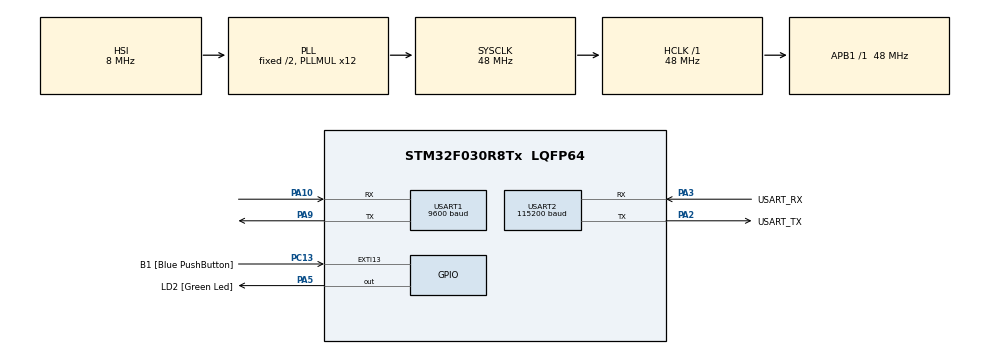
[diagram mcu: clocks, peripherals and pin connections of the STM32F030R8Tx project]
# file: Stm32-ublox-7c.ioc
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Dma.Request0=USART1_RX
Dma.USART1_RX.0.Direction=DMA_PERIPH_TO_MEMORY
Dma.USART1_RX.0.Instance=DMA1_Channel3
Dma.USART1_RX.0.MemDataAlignment=DMA_MDATAALIGN_BYTE
Dma.USART1_RX.0.MemInc=DMA_MINC_ENABLE
Dma.USART1_RX.0.Mode=DMA_NORMAL
Dma.USART1_RX.0.PeriphDataAlignment=DMA_PDATAALIGN_BYTE
Dma.USART1_RX.0.PeriphInc=DMA_PINC_DISABLE
Dma.USART1_RX.0.Priority=DMA_PRIORITY_HIGH
Mcu.Family=STM32F0
Mcu.Name=STM32F030R8Tx
Mcu.Package=LQFP64
NVIC.DMA1_Channel2_3_IRQn=true\:0\:0\:false\:false\:true\:false\:true\:true
NVIC.USART1_IRQn=true\:0\:0\:false\:false\:true\:true\:true\:true
PA10.Mode=Asynchronous
PA10.Signal=USART1_RX
PA13.GPIO_Label=TMS
PA13.Mode=Serial_Wire
PA13.Signal=SYS_SWDIO
PA14.GPIO_Label=TCK
PA14.Mode=Serial_Wire
PA14.Signal=SYS_SWCLK
PA2.GPIO_Label=USART_TX
PA2.GPIO_Mode=GPIO_MODE_AF_PP
PA2.GPIO_PuPd=GPIO_NOPULL
PA2.GPIO_Speed=GPIO_SPEED_FREQ_LOW
PA2.Mode=Asynchronous
PA2.Signal=USART2_TX
PA3.GPIO_Label=USART_RX
PA3.GPIO_Mode=GPIO_MODE_AF_PP
PA3.GPIO_PuPd=GPIO_NOPULL
PA3.GPIO_Speed=GPIO_SPEED_FREQ_LOW
PA3.Mode=Asynchronous
PA3.Signal=USART2_RX
PA5.GPIO_Label=LD2 [Green Led]
PA5.GPIO_Mode=GPIO_MODE_OUTPUT_PP
PA5.GPIO_PuPd=GPIO_NOPULL
PA5.GPIO_Speed=GPIO_SPEED_FREQ_LOW
PA5.Signal=GPIO_Output
PA9.Mode=Asynchronous
PA9.Signal=USART1_TX
PC13.GPIO_Label=B1 [Blue PushButton]
PC13.GPIO_ModeDefaultEXTI=GPIO_MODE_IT_FALLING
PC13.Signal=GPXTI13
PC14-OSC32_IN.Mode=LSE-External-Oscillator
PC14-OSC32_IN.Signal=RCC_OSC32_IN
PC15-OSC32_OUT.Mode=LSE-External-Oscillator
PC15-OSC32_OUT.Signal=RCC_OSC32_OUT
PF0-OSC_IN.Mode=HSE-External-Clock-Source
PF0-OSC_IN.Signal=RCC_OSC_IN
PF1-OSC_OUT.Signal=RCC_OSC_OUT
ProjectManager.HeapSize=0x200
ProjectManager.StackSize=0x400
ProjectManager.TargetToolchain=STM32CubeIDE
RCC.AHBFreq_Value=48000000
RCC.APB1Freq_Value=48000000
RCC.APB1TimFreq_Value=48000000
RCC.HCLKFreq_Value=48000000
RCC.PLLMUL=RCC_PLL_MUL12
RCC.SYSCLKFreq_VALUE=48000000
RCC.SYSCLKSource=RCC_SYSCLKSOURCE_PLLCLK
USART1.BaudRate=9600
USART1.VirtualMode-Asynchronous=VM_ASYNC
USART2.BaudRate=115200
USART2.VirtualMode-Asynchronous=VM_ASYNC
board=NUCLEO-F030R8

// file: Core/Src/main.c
/* USER CODE BEGIN Header */
/**
  ******************************************************************************
  * @file           : main.c
  * @brief          : Main program body
  ******************************************************************************
  * @attention
  *
  * Copyright (c) 2023 STMicroelectronics.
  * All rights reserved.
  *
  * This software is licensed under terms that can be found in the LICENSE file
  * in the root directory of this software component.
  * If no LICENSE file comes with this software, it is provided AS-IS.
  *
  ******************************************************************************
  */
/* USER CODE END Header */
#include "main.h"

/* USER CODE BEGIN Includes */
#include "nmea_parse.h"
#include <stdio.h>
/* USER CODE END Includes */

UART_HandleTypeDef huart1;
UART_HandleTypeDef huart2;
DMA_HandleTypeDef hdma_usart1_rx;

/* USER CODE BEGIN PV */

/* USER CODE BEGIN PV */
#define RxBuffer_SIZE 64  //configure uart receive buffer size
#define DataBuffer_SIZE 512 //gather a few rxBuffer frames before parsing

// Functions for UART receiving, based on the DMA receive function, implementations may vary
uint16_t oldPos = 0;
uint16_t newPos = 0;
uint8_t RxBuffer[RxBuffer_SIZE];
uint8_t DataBuffer[DataBuffer_SIZE];

//create a GPS data structure
GPS myData;

/* USER CODE END PV */

void SystemClock_Config(void);
static void MX_GPIO_Init(void);
static void MX_DMA_Init(void);
static void MX_USART2_UART_Init(void);
static void MX_USART1_UART_Init(void);

/* USER CODE BEGIN 0 */

void HAL_UARTEx_RxEventCallback(UART_HandleTypeDef *huart, uint16_t Size)
{
    oldPos = newPos; //keep track of the last position in the buffer
    if(oldPos + Size > DataBuffer_SIZE){ //if the buffer is full, parse it, then reset the buffer

        uint16_t datatocopy = DataBuffer_SIZE-oldPos;  // find out how much space is left in the main buffer
        memcpy ((uint8_t *)DataBuffer+oldPos, RxBuffer, datatocopy);  // copy data in that remaining space

        oldPos = 0;  // point to the start of the buffer
        memcpy ((uint8_t *)DataBuffer, (uint8_t *)RxBuffer+datatocopy, (Size-datatocopy));  // copy the remaining data
        newPos = (Size-datatocopy);  // update the position
    }
    else{
        memcpy((uint8_t *)DataBuffer+oldPos, RxBuffer, Size); //copy received data to the buffer
        newPos = Size+oldPos; //update buffer position

    }
    HAL_UARTEx_ReceiveToIdle_DMA(&huart1, (uint8_t *)RxBuffer, RxBuffer_SIZE); //re-enable the DMA interrupt
    __HAL_DMA_DISABLE_IT(&hdma_usart1_rx, DMA_IT_HT); //disable the half transfer interrupt
}

/* USER CODE END 0 */

int main(void)
{

  /* MCU Configuration--------------------------------------------------------*/

  /* Reset of all peripherals, Initializes the Flash interface and the Systick. */
  HAL_Init();

  /* Configure the system clock */
  SystemClock_Config();

  /* Initialize all configured peripherals */
  MX_GPIO_Init();
  MX_DMA_Init();
  MX_USART2_UART_Init();
  MX_USART1_UART_Init();
  /* USER CODE BEGIN 2 */

  HAL_UARTEx_ReceiveToIdle_DMA(&huart1, (uint8_t *)RxBuffer, RxBuffer_SIZE);
  __HAL_DMA_DISABLE_IT(&hdma_usart1_rx, DMA_IT_HT);
  int Serialcnt = 0;
  /* USER CODE END 2 */

  /* Infinite loop */
  while (1)
  {
	  nmea_parse(&myData, DataBuffer);

	      if(myData.fix == 1){ //if the GPS has a fix, print the data
	          char * str = (char*)malloc(sizeof(char)*200);
	          sprintf(str, "\r\n%d: Lat: %2.6f %c, Lon: %2.6f %c, Alt: %2.6f m, Satellites: %d HDOP: %f\r\n", Serialcnt, myData.latitude, myData.latSide, myData.longitude, myData.lonSide, myData.altitude, myData.satelliteCount, myData.hdop); // @suppress("Float formatting support")
	          HAL_UART_Transmit(&huart2, (uint8_t *)str, strlen(str), 1000);
	          //Transmit last measure time for troubleshooting
	          HAL_UART_Transmit(&huart2, (uint8_t *)myData.lastMeasure, strlen(myData.lastMeasure), 1000);
	          HAL_Delay(1000);
	          free(str);
	      }
	      else{ //if the GPS doesn't have a fix, print a message
	          char *str = (char*)malloc(sizeof(char)*15);
	          sprintf(str, "%d: No fix\r\n", Serialcnt);
	         HAL_UART_Transmit(&huart2, (uint8_t *)str, strlen(str), 1000);
	          HAL_Delay(5000);
	          free(str);
	      }
	      Serialcnt++;
	        /* USER CODE END WHILE */

  }
}

void SystemClock_Config(void)
{
  RCC_OscInitTypeDef RCC_OscInitStruct = {0};
  RCC_ClkInitTypeDef RCC_ClkInitStruct = {0};
  RCC_PeriphCLKInitTypeDef PeriphClkInit = {0};

  /** Initializes the RCC Oscillators according to the specified parameters
  * in the RCC_OscInitTypeDef structure.
  */
  RCC_OscInitStruct.OscillatorType = RCC_OSCILLATORTYPE_HSI;
  RCC_OscInitStruct.HSIState = RCC_HSI_ON;
  RCC_OscInitStruct.HSICalibrationValue = RCC_HSICALIBRATION_DEFAULT;
  RCC_OscInitStruct.PLL.PLLState = RCC_PLL_ON;
  RCC_OscInitStruct.PLL.PLLSource = RCC_PLLSOURCE_HSI;
  RCC_OscInitStruct.PLL.PLLMUL = RCC_PLL_MUL12;
  RCC_OscInitStruct.PLL.PREDIV = RCC_PREDIV_DIV1;
  if (HAL_RCC_OscConfig(&RCC_OscInitStruct) != HAL_OK)
  {
    Error_Handler();
  }

  /** Initializes the CPU, AHB and APB buses clocks
  */
  RCC_ClkInitStruct.ClockType = RCC_CLOCKTYPE_HCLK|RCC_CLOCKTYPE_SYSCLK
                              |RCC_CLOCKTYPE_PCLK1;
  RCC_ClkInitStruct.SYSCLKSource = RCC_SYSCLKSOURCE_PLLCLK;
  RCC_ClkInitStruct.AHBCLKDivider = RCC_SYSCLK_DIV1;
  RCC_ClkInitStruct.APB1CLKDivider = RCC_HCLK_DIV1;

  if (HAL_RCC_ClockConfig(&RCC_ClkInitStruct, FLASH_LATENCY_1) != HAL_OK)
  {
    Error_Handler();
  }
  PeriphClkInit.PeriphClockSelection = RCC_PERIPHCLK_USART1;
  PeriphClkInit.Usart1ClockSelection = RCC_USART1CLKSOURCE_PCLK1;
  if (HAL_RCCEx_PeriphCLKConfig(&PeriphClkInit) != HAL_OK)
  {
    Error_Handler();
  }
}

static void MX_USART1_UART_Init(void)
{

  huart1.Instance = USART1;
  huart1.Init.BaudRate = 9600;
  huart1.Init.WordLength = UART_WORDLENGTH_8B;
  huart1.Init.StopBits = UART_STOPBITS_1;
  huart1.Init.Parity = UART_PARITY_NONE;
  huart1.Init.Mode = UART_MODE_TX_RX;
  huart1.Init.HwFlowCtl = UART_HWCONTROL_NONE;
  huart1.Init.OverSampling = UART_OVERSAMPLING_16;
  huart1.Init.OneBitSampling = UART_ONE_BIT_SAMPLE_DISABLE;
  huart1.AdvancedInit.AdvFeatureInit = UART_ADVFEATURE_NO_INIT;
  if (HAL_UART_Init(&huart1) != HAL_OK)
  {
    Error_Handler();
  }

}

static void MX_USART2_UART_Init(void)
{

  huart2.Instance = USART2;
  huart2.Init.BaudRate = 115200;
  huart2.Init.WordLength = UART_WORDLENGTH_8B;
  huart2.Init.StopBits = UART_STOPBITS_1;
  huart2.Init.Parity = UART_PARITY_NONE;
  huart2.Init.Mode = UART_MODE_TX_RX;
  huart2.Init.HwFlowCtl = UART_HWCONTROL_NONE;
  huart2.Init.OverSampling = UART_OVERSAMPLING_16;
  huart2.Init.OneBitSampling = UART_ONE_BIT_SAMPLE_DISABLE;
  huart2.AdvancedInit.AdvFeatureInit = UART_ADVFEATURE_NO_INIT;
  if (HAL_UART_Init(&huart2) != HAL_OK)
  {
    Error_Handler();
  }

}

static void MX_DMA_Init(void)
{

  /* DMA controller clock enable */
  __HAL_RCC_DMA1_CLK_ENABLE();

  /* DMA interrupt init */
  /* DMA1_Channel2_3_IRQn interrupt configuration */
  HAL_NVIC_SetPriority(DMA1_Channel2_3_IRQn, 0, 0);
  HAL_NVIC_EnableIRQ(DMA1_Channel2_3_IRQn);

}

static void MX_GPIO_Init(void)
{
  GPIO_InitTypeDef GPIO_InitStruct = {0};

  /* GPIO Ports Clock Enable */
  __HAL_RCC_GPIOC_CLK_ENABLE();
  __HAL_RCC_GPIOF_CLK_ENABLE();
  __HAL_RCC_GPIOA_CLK_ENABLE();

  /*Configure GPIO pin Output Level */
  HAL_GPIO_WritePin(LD2_GPIO_Port, LD2_Pin, GPIO_PIN_RESET);

  /*Configure GPIO pin : B1_Pin */
  GPIO_InitStruct.Pin = B1_Pin;
  GPIO_InitStruct.Mode = GPIO_MODE_IT_FALLING;
  GPIO_InitStruct.Pull = GPIO_NOPULL;
  HAL_GPIO_Init(B1_GPIO_Port, &GPIO_InitStruct);

  /*Configure GPIO pin : LD2_Pin */
  GPIO_InitStruct.Pin = LD2_Pin;
  GPIO_InitStruct.Mode = GPIO_MODE_OUTPUT_PP;
  GPIO_InitStruct.Pull = GPIO_NOPULL;
  GPIO_InitStruct.Speed = GPIO_SPEED_FREQ_LOW;
  HAL_GPIO_Init(LD2_GPIO_Port, &GPIO_InitStruct);

}

void Error_Handler(void)
{
  __disable_irq();
  while (1)
  {
  }
}
